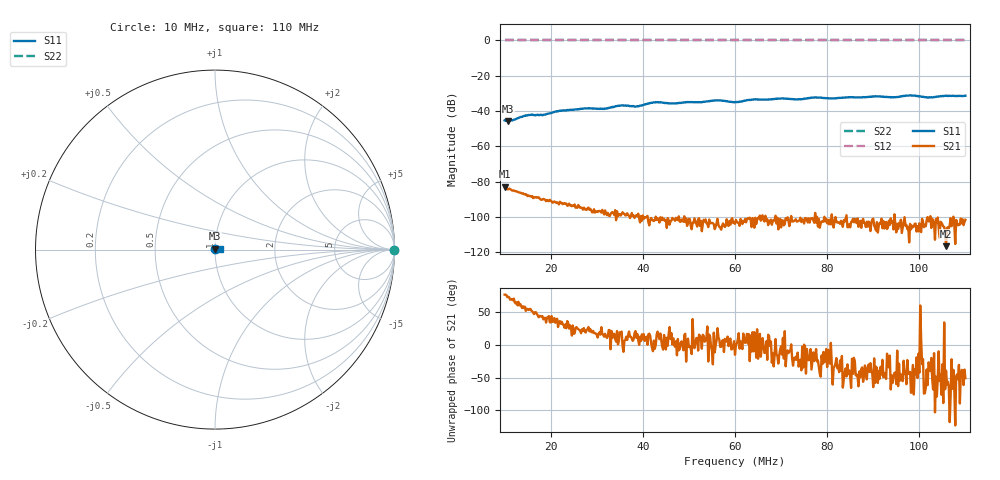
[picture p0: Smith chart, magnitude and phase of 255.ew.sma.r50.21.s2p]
! Anritsu VNA Master:  Model: MS2036C/10/77
! SN:  1601066
! /card0/usr/255.ew.sma.r50.21.s2p
! Existing Calibration Information:
! TYPE:  Current Settings,  Active Cal Settings
! TIME:  12/19/2017 06:20:47 PM,  12/19/2017 06:04:41 PM
! INTERNAL TEMP:  41.5 C,  39.8 C
! # POINTS:  501,  501
! START FREQ:  10.000 MHz,  10.000 MHz
! STOP FREQ:  110.000 MHz,  110.000 MHz
! SOURCE POWER:  High,  High
! IFBW:  100 Hz,  100 Hz
! AVG FACTOR:  1 ,  1
! REF PLANE 1:  0 mm,  0 mm
! REF PLANE 2:  0 mm,  0 mm
! CAL TYPE:  Full S11,  Full S11
! CAL METHOD:  SOLT,  SOLT
! CAL LINE TYPE:  Coax,  Coax
! DUT PORT 1:  N-Conn(F),  N-Conn(F)
! DUT PORT 2:  K-Conn(F),  K-Conn(F)
! CAL STATUS:  OK: Accuracy High,  --
# GHZ S DB R 50.0
! FREQ.GHZ  S11DB  S11A  S21DB  S21A  S12DB  S12A  S22DB  S22A
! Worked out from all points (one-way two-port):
!   501 points, 10 MHz to 110 MHz, reference 50 ohm
!   highest |S21| = -82.91 dB at 10 MHz (marker M1); lowest = -116.6 dB at 105.8 MHz (marker M2)
!   lowest |S11| = -45.6 dB at 10.8 MHz (marker M3), VSWR 1.01, Z = 50.2 + j0.499 ohm
!   |S11| at or under -10 dB: start of sweep to end of sweep
!   |S22| runs from 0.0 to 0.0 dB; largest |S21 - S12| = 1
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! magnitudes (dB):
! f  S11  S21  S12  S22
! 10 MHz  -45.3  -82.9  0.0  0.0
! 10.8 MHz  -45.6  -84.3  0.0  0.0
! 15 MHz  -42.4  -88.2  0.0  0.0
! 18.6 MHz  -42.0  -89.9  0.0  0.0
! 21.8 MHz  -39.9  -92.9  0.0  0.0
! 26.8 MHz  -38.7  -94.9  0.0  0.0
! 31.6 MHz  -38.8  -98.6  0.0  0.0
! 35.4 MHz  -36.8  -98.3  0.0  0.0
! 38.6 MHz  -37.3  -99.0  0.0  0.0
! 43.4 MHz  -35.0  -101.4  0.0  0.0
! 47 MHz  -35.7  -102.1  0.0  0.0
! 56.4 MHz  -34.0  -104.5  0.0  0.0
! 60 MHz  -35.0  -103.9  0.0  0.0
! 64 MHz  -33.5  -101.3  0.0  0.0
! 73.8 MHz  -33.4  -102.3  0.0  0.0
! 76.8 MHz  -32.4  -100.6  0.0  0.0
! 81 MHz  -32.8  -98.6  0.0  0.0
! 93.4 MHz  -32.1  -102.1  0.0  0.0
! 97.8 MHz  -31.2  -114.4  0.0  0.0
! 102 MHz  -32.3  -102.5  0.0  0.0
! 105.8 MHz  -31.3  -116.6  0.0  0.0
! 110 MHz  -31.3  -101.6  0.0  0.0
